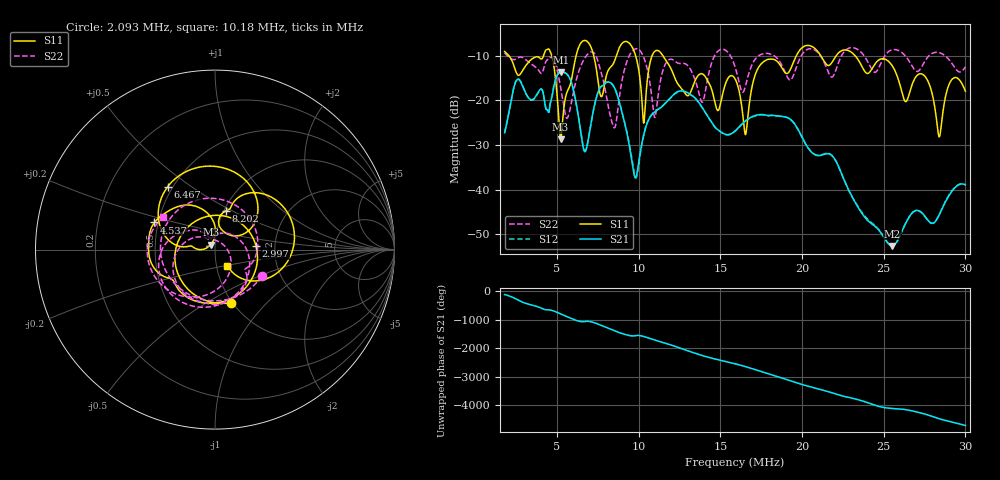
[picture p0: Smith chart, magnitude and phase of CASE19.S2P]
!Agilent Technologies,E5061B,MY49101568,A.02.00
!Date: Wed Mar 01 12:42:37 2023
!Data & Calibration Information:
!Freq	S11:SOLT2(OFF)	S21:SOLT2(OFF)	S12:SOLT2(OFF)	S22:SOLT2(OFF)
# Hz S dB R 50
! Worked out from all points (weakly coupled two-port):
!   1155 points, 1.8 MHz to 30 MHz, reference 50 ohm
!   highest |S21| = -13.64 dB at 5.27 MHz (marker M1); lowest = -52.6 dB at 25.53 MHz (marker M2)
!   lowest |S11| = -28.7 dB at 5.221 MHz (marker M3), VSWR 1.08, Z = 47.6 + j2.66 ohm
!   |S11| at or under -10 dB: 2.057 MHz to 4.184 MHz (2.127 MHz wide, 68.2 % of centre); 11.48 MHz to 19.66 MHz (8.177 MHz wide, 52.5 % of centre); 23.25 MHz to end of sweep (the widest 3 of 7)
!   |S22| runs from -26.2 to -8.2 dB; largest |S21 - S12| = 0.0034
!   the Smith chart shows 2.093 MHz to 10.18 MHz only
!   S11 on the Smith chart (normalised r, x): 2.093 MHz: 0.99, -0.65; 2.997 MHz: 1.59, +0.07; 4.537 MHz: 0.48, +0.17; 6.467 MHz: 0.47, +0.41; 8.202 MHz: 1.03, +0.47; 10.18 MHz: 1.13, -0.20
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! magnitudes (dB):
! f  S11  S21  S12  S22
! 1.8 MHz  -9.1  -27.3  -27.3  -9.4
! 2.093 MHz  -10.2  -22.0  -22.2  -10.5
! 2.997 MHz  -12.8  -17.6  -17.6  -10.7
! 4.537 MHz  -8.6  -22.2  -22.2  -10.3
! 5.221 MHz  -28.7  -13.7  -13.7  -16.9
! 5.27 MHz  -28.0  -13.6  -13.6  -18.0
! 6.467 MHz  -7.2  -27.3  -27.2  -12.3
! 6.516 MHz  -6.9  -28.5  -28.4  -11.9
! 8.202 MHz  -12.9  -15.9  -15.9  -22.4
! 9.424 MHz  -7.2  -30.0  -29.6  -10.1
! 10.18 MHz  -19.0  -30.0  -30.3  -9.4
! 11.21 MHz  -8.9  -22.0  -21.9  -18.5
! 13.9 MHz  -14.1  -21.6  -21.7  -20.5
! 14.85 MHz  -22.3  -26.6  -26.6  -9.0
! 15.9 MHz  -15.2  -26.9  -26.9  -12.5
! 16.54 MHz  -27.7  -24.6  -24.7  -16.9
! 17.46 MHz  -12.0  -23.2  -23.3  -9.8
! 20.62 MHz  -8.0  -31.7  -31.7  -8.5
! 25.31 MHz  -11.3  -52.2  -52.2  -9.1
! 25.53 MHz  -12.3  -52.6  -52.6  -8.7
! 28.39 MHz  -28.2  -45.7  -45.6  -9.3
! 30 MHz  -17.9  -38.9  -38.9  -12.5
